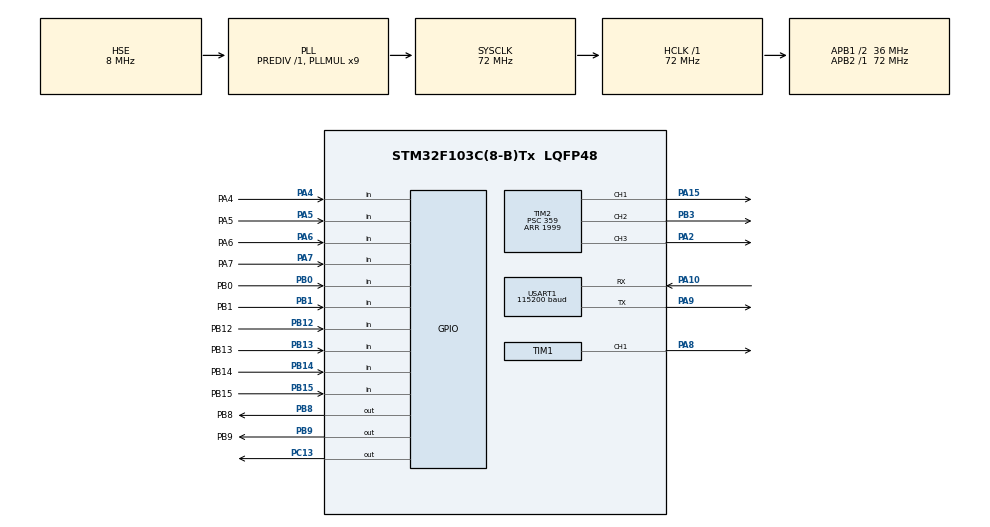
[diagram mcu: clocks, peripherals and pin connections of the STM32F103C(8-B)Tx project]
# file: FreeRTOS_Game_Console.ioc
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FREERTOS.Tasks01=defaultTask,24,128,StartDefaultTask,Default,NULL,Dynamic,NULL,NULL
FREERTOS.configTOTAL_HEAP_SIZE=9216
FREERTOS.configUSE_IDLE_HOOK=1
FREERTOS.configUSE_STATS_FORMATTING_FUNCTIONS=1
Mcu.Family=STM32F1
Mcu.Name=STM32F103C(8-B)Tx
Mcu.Package=LQFP48
NVIC.PriorityGroup=NVIC_PRIORITYGROUP_4
NVIC.TIM3_IRQn=true\:5\:0\:false\:false\:true\:true\:true\:true\:true
NVIC.TIM4_IRQn=true\:15\:0\:false\:false\:true\:false\:false\:true\:true
NVIC.TimeBase=TIM4_IRQn
NVIC.TimeBaseIP=TIM4
PA10.Mode=Asynchronous
PA10.Signal=USART1_RX
PA13.Mode=Serial_Wire
PA13.Signal=SYS_JTMS-SWDIO
PA14.Mode=Serial_Wire
PA14.Signal=SYS_JTCK-SWCLK
PA15.Signal=S_TIM2_CH1_ETR
PA2.Signal=S_TIM2_CH3
PA4.GPIO_Label=PA4
PA4.GPIO_PuPd=GPIO_PULLUP
PA4.Signal=GPIO_Input
PA5.GPIO_Label=PA5
PA5.GPIO_PuPd=GPIO_PULLUP
PA5.Signal=GPIO_Input
PA6.GPIO_Label=PA6
PA6.GPIO_PuPd=GPIO_PULLUP
PA6.Signal=GPIO_Input
PA7.GPIO_Label=PA7
PA7.GPIO_PuPd=GPIO_PULLUP
PA7.Signal=GPIO_Input
PA8.Signal=S_TIM1_CH1
PA9.Mode=Asynchronous
PA9.Signal=USART1_TX
PB0.GPIO_Label=PB0
PB0.GPIO_PuPd=GPIO_PULLUP
PB0.Signal=GPIO_Input
PB1.GPIO_Label=PB1
PB1.GPIO_PuPd=GPIO_PULLUP
PB1.Signal=GPIO_Input
PB12.GPIO_Label=PB12
PB12.GPIO_PuPd=GPIO_PULLUP
PB12.Signal=GPIO_Input
PB13.GPIO_Label=PB13
PB13.GPIO_PuPd=GPIO_PULLUP
PB13.Signal=GPIO_Input
PB14.GPIO_Label=PB14
PB14.GPIO_PuPd=GPIO_PULLUP
PB14.Signal=GPIO_Input
PB15.GPIO_Label=PB15
PB15.GPIO_PuPd=GPIO_PULLUP
PB15.Signal=GPIO_Input
PB3.Signal=S_TIM2_CH2
PB8.GPIO_Label=PB8
PB8.GPIO_ModeDefaultOutputPP=GPIO_MODE_OUTPUT_OD
PB8.GPIO_PuPd=GPIO_NOPULL
PB8.GPIO_Speed=GPIO_SPEED_FREQ_HIGH
PB8.Signal=GPIO_Output
PB9.GPIO_Label=PB9
PB9.GPIO_ModeDefaultOutputPP=GPIO_MODE_OUTPUT_OD
PB9.GPIO_PuPd=GPIO_NOPULL
PB9.GPIO_Speed=GPIO_SPEED_FREQ_HIGH
PB9.Signal=GPIO_Output
PC13-TAMPER-RTC.Signal=GPIO_Output
PD0-OSC_IN.Mode=HSE-External-Oscillator
PD0-OSC_IN.Signal=RCC_OSC_IN
PD1-OSC_OUT.Mode=HSE-External-Oscillator
PD1-OSC_OUT.Signal=RCC_OSC_OUT
ProjectManager.HeapSize=0x200
ProjectManager.StackSize=0x400
ProjectManager.TargetToolchain=MDK-ARM V5.32
RCC.AHBFreq_Value=72000000
RCC.APB1CLKDivider=RCC_HCLK_DIV2
RCC.APB1Freq_Value=36000000
RCC.APB1TimFreq_Value=72000000
RCC.APB2Freq_Value=72000000
RCC.APB2TimFreq_Value=72000000
RCC.HCLKFreq_Value=72000000
RCC.PLLMUL=RCC_PLL_MUL9
RCC.PLLSourceVirtual=RCC_PLLSOURCE_HSE
RCC.SYSCLKFreq_VALUE=72000000
RCC.SYSCLKSource=RCC_SYSCLKSOURCE_PLLCLK
RCC.USBFreq_Value=72000000
SH.S_TIM1_CH1.0=TIM1_CH1,PWM Generation1 CH1
SH.S_TIM2_CH1_ETR.0=TIM2_CH1,PWM Generation1 CH1
SH.S_TIM2_CH2.0=TIM2_CH2,PWM Generation2 CH2
SH.S_TIM2_CH3.0=TIM2_CH3,PWM Generation3 CH3
TIM1.AutoReloadPreload=TIM_AUTORELOAD_PRELOAD_ENABLE
TIM1.Channel-PWM\ Generation1\ CH1=TIM_CHANNEL_1
TIM1.Period=999
TIM1.Prescaler=71
TIM1.Pulse-PWM\ Generation1\ CH1=499
TIM2.AutoReloadPreload=TIM_AUTORELOAD_PRELOAD_ENABLE
TIM2.Channel-PWM\ Generation1\ CH1=TIM_CHANNEL_1
TIM2.Channel-PWM\ Generation2\ CH2=TIM_CHANNEL_2
TIM2.Channel-PWM\ Generation3\ CH3=TIM_CHANNEL_3
TIM2.Period=1999
TIM2.Prescaler=359
TIM3.Period=500 - 1
TIM3.Prescaler=7200 - 1
USART1.BaudRate=115200
USART1.VirtualMode=VM_ASYNC
VP_FREERTOS_VS_CMSIS_V2.Mode=CMSIS_V2
VP_SYS_VS_tim4.Mode=TIM4
VP_TIM1_VS_ClockSourceINT.Mode=Internal
VP_TIM2_VS_ClockSourceINT.Mode=Internal
VP_TIM3_VS_ClockSourceINT.Mode=Internal
board=custom

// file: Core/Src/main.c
/* USER CODE BEGIN Header */
/**
  ******************************************************************************
  * @file           : main.c
  * @brief          : Main program body
  ******************************************************************************
  * @attention
  *
  * Copyright (c) 2024 STMicroelectronics.
  * All rights reserved.
  *
  * This software is licensed under terms that can be found in the LICENSE file
  * in the root directory of this software component.
  * If no LICENSE file comes with this software, it is provided AS-IS.
  *
  ******************************************************************************
  */
/* USER CODE END Header */
#include "main.h"
#include "cmsis_os.h"
#include "tim.h"
#include "usart.h"
#include "gpio.h"

/* USER CODE BEGIN Includes */
#include "driver_irq.h"
/* USER CODE END Includes */

void SystemClock_Config(void);
void MX_FREERTOS_Init(void);

/* USER CODE BEGIN 0 */
extern void Scan_Key( void );
/* USER CODE END 0 */

int main(void)
{

  /* MCU Configuration--------------------------------------------------------*/

  /* Reset of all peripherals, Initializes the Flash interface and the Systick. */
  HAL_Init();

  /* Configure the system clock */
  SystemClock_Config();

  /* Initialize all configured peripherals */
  MX_GPIO_Init();
  MX_TIM1_Init();
  MX_TIM2_Init();
  MX_USART1_UART_Init();
  MX_TIM3_Init();
  /* USER CODE BEGIN 2 */
  HAL_TIM_Base_Start_IT(&htim3);
  /* USER CODE END 2 */

  /* Init scheduler */
  osKernelInitialize();

  /* Call init function for freertos objects (in cmsis_os2.c) */
  MX_FREERTOS_Init();

  /* Start scheduler */
  osKernelStart();

  /* We should never get here as control is now taken by the scheduler */

  /* Infinite loop */
  while (1)
  {

  }
}

void SystemClock_Config(void)
{
  RCC_OscInitTypeDef RCC_OscInitStruct = {0};
  RCC_ClkInitTypeDef RCC_ClkInitStruct = {0};

  /** Initializes the RCC Oscillators according to the specified parameters
  * in the RCC_OscInitTypeDef structure.
  */
  RCC_OscInitStruct.OscillatorType = RCC_OSCILLATORTYPE_HSE;
  RCC_OscInitStruct.HSEState = RCC_HSE_ON;
  RCC_OscInitStruct.HSEPredivValue = RCC_HSE_PREDIV_DIV1;
  RCC_OscInitStruct.HSIState = RCC_HSI_ON;
  RCC_OscInitStruct.PLL.PLLState = RCC_PLL_ON;
  RCC_OscInitStruct.PLL.PLLSource = RCC_PLLSOURCE_HSE;
  RCC_OscInitStruct.PLL.PLLMUL = RCC_PLL_MUL9;
  if (HAL_RCC_OscConfig(&RCC_OscInitStruct) != HAL_OK)
  {
    Error_Handler();
  }

  /** Initializes the CPU, AHB and APB buses clocks
  */
  RCC_ClkInitStruct.ClockType = RCC_CLOCKTYPE_HCLK|RCC_CLOCKTYPE_SYSCLK
                              |RCC_CLOCKTYPE_PCLK1|RCC_CLOCKTYPE_PCLK2;
  RCC_ClkInitStruct.SYSCLKSource = RCC_SYSCLKSOURCE_PLLCLK;
  RCC_ClkInitStruct.AHBCLKDivider = RCC_SYSCLK_DIV1;
  RCC_ClkInitStruct.APB1CLKDivider = RCC_HCLK_DIV2;
  RCC_ClkInitStruct.APB2CLKDivider = RCC_HCLK_DIV1;

  if (HAL_RCC_ClockConfig(&RCC_ClkInitStruct, FLASH_LATENCY_2) != HAL_OK)
  {
    Error_Handler();
  }
}

void HAL_TIM_PeriodElapsedCallback(TIM_HandleTypeDef *htim)
{
  if (htim->Instance == TIM4) {
    HAL_IncTick();
  }
  /* USER CODE BEGIN Callback 1 */
  if (htim->Instance == TIM3)
  {
#if 1
    Scan_Key();
#else
    if ( HAL_GPIO_ReadPin( PA4_GPIO_Port, PA4_Pin ) == GPIO_PIN_RESET )
    {
        Key_Right_Up_IRQ_Callback();
    }
     if ( HAL_GPIO_ReadPin( PA5_GPIO_Port, PA5_Pin ) == GPIO_PIN_RESET )
    {
        Key_Right_Down_IRQ_Callback();
    }
    if ( HAL_GPIO_ReadPin( PA6_GPIO_Port, PA6_Pin ) == GPIO_PIN_RESET )
    {
        Key_Right_Right_IRQ_Callback();
    }
    if ( HAL_GPIO_ReadPin( PA7_GPIO_Port, PA7_Pin ) == GPIO_PIN_RESET )
    {
        Key_Right_Left_IRQ_Callback();
    }
    if ( HAL_GPIO_ReadPin( PB12_GPIO_Port, PB12_Pin ) == GPIO_PIN_RESET )
    {
        Key_Left_A_IRQ_Callback();
    }
    if ( HAL_GPIO_ReadPin( PB13_GPIO_Port, PB13_Pin ) == GPIO_PIN_RESET )
    {
        Key_Left_B_IRQ_Callback();
    }
    if ( HAL_GPIO_ReadPin( PB0_GPIO_Port, PB0_Pin ) == GPIO_PIN_RESET )
    {
        Key_Dowm_Start_IRQ_Callback();
    }
    if ( HAL_GPIO_ReadPin( PB1_GPIO_Port, PB1_Pin ) == GPIO_PIN_RESET )
    {
        Key_Dowm_Set_IRQ_Callback();
    }
#endif
  }
  /* USER CODE END Callback 1 */
}

void Error_Handler(void)
{
  __disable_irq();
  while (1)
  {
  }
}

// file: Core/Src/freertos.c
/* USER CODE BEGIN Header */
/**
  ******************************************************************************
  * File Name          : freertos.c
  * Description        : Code for freertos applications
  ******************************************************************************
  * @attention
  *
  * Copyright (c) 2024 STMicroelectronics.
  * All rights reserved.
  *
  * This software is licensed under terms that can be found in the LICENSE file
  * in the root directory of this software component.
  * If no LICENSE file comes with this software, it is provided AS-IS.
  *
  ******************************************************************************
  */
/* USER CODE END Header */

#include "FreeRTOS.h"
#include "task.h"
#include "main.h"
#include "cmsis_os.h"

/* USER CODE BEGIN Includes */
#include "FreeRTOS.h"                   // ARM.FreeRTOS::RTOS:Core
#include "task.h"                       // ARM.FreeRTOS::RTOS:Core
#include "event_groups.h"               // ARM.FreeRTOS::RTOS:Event Groups
#include "semphr.h"                     // ARM.FreeRTOS::RTOS:Core
#include "driver_led.h"
#include "driver_Key.h"
#include "driver_timer.h"
#include "OLED.h"
#include "driver_color_led.h"
#include "music.h"
#include "homepage.h"
#include "GreedySnake.h"
#include "driver_uart.h"
#include "usart.h"
#include <stdio.h>

/* USER CODE END Includes */

/* USER CODE BEGIN Variables */
static StackType_t g_pucStackOfLightTask[ 30 ];
static StaticTask_t g_TCBofLightTask;

static StackType_t g_pucStackOfColorTask[ 50 ];
static StaticTask_t g_TCBofColorTask;

static StackType_t g_pucStackOfHomePageTask[ 50 ];
static StaticTask_t g_TCBofHomePageTask;

TaskHandle_t xLightTaskHandle;
TaskHandle_t xColorTaskHandle;
TaskHandle_t xHomePageTaskHandle;

TaskHandle_t xDinoGame_Handle;
TaskHandle_t xStarWar_Handler;
TaskHandle_t xFappyBird_Handler;
TaskHandle_t xGreedySnake_Handler;
TaskHandle_t xMusicTaskHandle;

TaskStatus_t xDinoGame_State;
TaskStatus_t xStarWar_State;
TaskStatus_t xFappyBird_State;
TaskStatus_t xGreedySnake_State;
TaskStatus_t xMusic_State;

//static char pcWriteBuffer[100];

/* USER CODE END Variables */
/* Definitions for defaultTask */
osThreadId_t defaultTaskHandle;
const osThreadAttr_t defaultTask_attributes = {
  .name = "defaultTask",
  .stack_size = 128 * 4,
  .priority = (osPriority_t) osPriorityNormal,
};

void StartDefaultTask(void *argument);

void MX_FREERTOS_Init(void); /* (MISRA C 2004 rule 8.1) */

/* Hook prototypes */
void vApplicationIdleHook(void);

/* USER CODE BEGIN 2 */
void vApplicationIdleHook( void )
{
//    uint8_t i;
    /* vApplicationIdleHook() will only be called if configUSE_IDLE_HOOK is set
    to 1 in FreeRTOSConfig.h. It will be called on each iteration of the idle
    task. It is essential that code added to this hook function never attempts
    to block in any way (for example, call xQueueReceive() with a block time
    specified, or call vTaskDelay()). If the application makes use of the
    vTaskDelete() API function (as this demo application does) then it is also
    important that vApplicationIdleHook() is permitted to return to its calling
    function, because it is the responsibility of the idle task to clean up
    memory allocated by the kernel to any task that has since been deleted. */
//    vTaskList( pcWriteBuffer );
//    for ( i = 0; i < 16; i++ )
//    {
//        printf( "-" );
//    }
//    printf( "\r\n" );
//    printf( "%s\r\n", pcWriteBuffer );
}

/* USER CODE END 2 */

void MX_FREERTOS_Init(void) {
  /* USER CODE BEGIN Init */
    HomePage_Init();

  /* USER CODE END Init */

  /* Create the thread(s) */
  /* creation of defaultTask */
  defaultTaskHandle = osThreadNew(StartDefaultTask, NULL, &defaultTask_attributes);

  /* USER CODE BEGIN RTOS_THREADS */
    /* add threads, ... */
    /* 创建任务 */

    /* 测试创建游戏任务 */
	// xTaskCreate( GreedySnake_Task, "GreedySnakeTask", GreedySnake_STK_SIZE, NULL, osPriorityNormal, &xGreedySnake_Handler);

    /* LED闪烁 */
    xLightTaskHandle = xTaskCreateStatic( Led_Test, "LightTest", 30, NULL, osPriorityNormal, g_pucStackOfLightTask, &g_TCBofLightTask );

    /* 彩色LED */
    xColorTaskHandle = xTaskCreateStatic( ColorLED_Test, "ColorTest", 50, NULL, osPriorityNormal, g_pucStackOfColorTask, &g_TCBofColorTask );

    /* 主页显示 */
    xHomePageTaskHandle = xTaskCreateStatic( HomePage_Task, "HomePageMenu", 50, NULL, osPriorityNormal, g_pucStackOfHomePageTask, &g_TCBofHomePageTask );

  /* USER CODE END RTOS_THREADS */

}

void StartDefaultTask(void *argument)
{
  /* USER CODE BEGIN StartDefaultTask */

    /* Infinite loop */
    for(;;)
    {
        // osDelay(1);
        // Led_Test();
        // OLED_Test();
        // PassiveBuzzer_Test();
        // UART_Test();
        // Key_Test();
        vTaskDelay( 50 );
    }
  /* USER CODE END StartDefaultTask */
}
